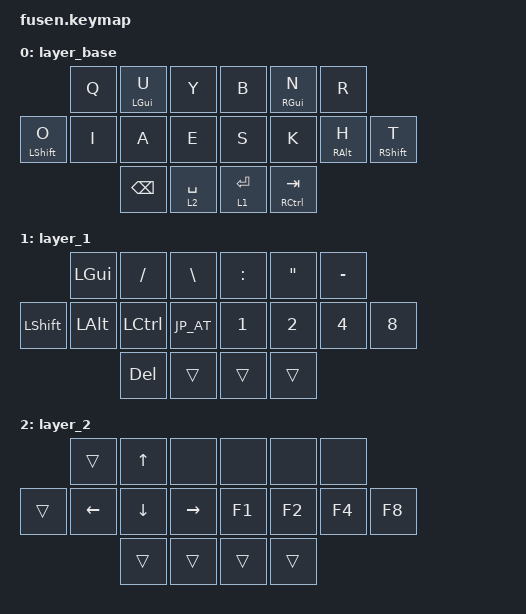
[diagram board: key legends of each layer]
#include <behaviors.dtsi>
#include <dt-bindings/zmk/keys.h>
#include <dt-bindings/zmk/mouse.h>
#include <dt-bindings/zmk/bt.h>
#include <dt-bindings/zmk/outputs.h>
#include <dt-bindings/zmk/pointing.h>

// US JISのキー名の調整
#define JP_DQUOTE       AT                // "
#define JP_AMPERSAND    CARET             // &
#define JP_QUOTE        AMPERSAND         // '
#define JP_EQUAL        UNDER             // =
#define JP_CARET        EQUAL             // ^
#define JP_YEN          0x89              // ¥
#define JP_PLUS         COLON             // +
#define JP_TILDE        PLUS              // ~
#define JP_PIPE         LS(0x89)          // |
#define JP_AT           LEFT_BRACKET      // @
#define JP_COLON        SINGLE_QUOTE      // :
#define JP_ASTERISK     DOUBLE_QUOTES     // *
#define JP_BACKQUOTE    LEFT_BRACE        // `
#define JP_UNDERSCORE   LS(0x87)          // _
#define JP_LBRACKET     RIGHT_BRACKET     // [
#define JP_RBRACKET     BACKSLASH         // ]
#define JP_LPAREN       ASTERISK          // (
#define JP_RPAREN       LEFT_PARENTHESIS  // )
#define JP_LBRACE       RIGHT_BRACE       // {
#define JP_RBRACE       PIPE              // }
#define JP_KANA         LANGUAGE_1        // かな
#define JP_EISU         LANGUAGE_2        // 英数
#define JP_HANZEN       GRAVE             // 半角/全角
// 特殊な入力法

&mt {
    flavor = "tap-preferred";
    tapping-term-ms = <225>;
    quick-tap-ms = <200>;
    require-prior-idle-ms = <150>;
};

&lt {
    flavor = "balanced";
    tapping-term-ms = <175>;
    quick-tap-ms = <200>;
};

&sk {
};

&sl {
};

&caps_word {
};

&key_repeat {
};

/ {
    combos {
        compatible = "zmk,combos";
        timeout-ms = <100>;
        require-prior-idle-ms = <150>;

        combo_lang2 {
            key-positions = <7 8 9>;
            bindings = <&kp LANG2>;
            layers = <0>;
        };

        combo_lang1 {
            key-positions = <10 11 12>;
            bindings = <&kp LANG1>;
            layers = <0>;
        };
        
        combo_comma {
            key-positions = <10 16>;
            bindings = <&kp COMMA>;
        };

        combo_period {
            key-positions = <11 16>;
            bindings = <&kp DOT>;
        };

        combo_esc {
            key-positions = <0 6>;
            bindings = <&kp ESC>;
        };

        combo_q {
            bindings = <&kp Q>;
            key-positions = <0 2>;
            layers = <0>;
        };

        combo_x {
            bindings = <&kp X>;
            key-positions = <1 2>;
            layers = <0>;
        };

        combo_l {
            bindings = <&kp L>;
            key-positions = <3 5>;
            layers = <0>;
        };

        combo_p {
            bindings = <&kp P>;
            key-positions = <3 4>;
            layers = <0>;
        };

        combo_m {
            bindings = <&kp M>;
            key-positions = <4 5>;
            layers = <0>;
        };

        combo_j {
            bindings = <&kp J>;
            key-positions = <5 13>;
            layers = <0>;
        };

        combo_c {
            bindings = <&kp C>;
            key-positions = <7 8>;
            layers = <0>;
        };

        combo_v {
            bindings = <&kp V>;
            key-positions = <8 9>;
            layers = <0>;
        };

        combo_w {
            bindings = <&kp W>;
            key-positions = <10 12>;
            layers = <0>;
        };

        combo_z {
            bindings = <&kp Z>;
            key-positions = <10 11>;
            layers = <0>;
        };

        combo_g {
            bindings = <&kp G>;
            key-positions = <11 12>;
            layers = <0>;
        };

        combo_d {
            bindings = <&kp D>;
            key-positions = <12 13>;
            layers = <0>;
        };

        minus {
            bindings = <&kp MINUS>;
            key-positions = <12  16>;
            layers = <0>;
        };

        combo_lbkt {
            bindings = <&kp JP_LBRACKET>;
            key-positions = <2 15>;
            layers = <0>;
        };

        combo_rbkt {
            bindings = <&kp JP_RBRACKET>;
            key-positions = <3 16>;
            layers = <0>;
        };

    
        combo_n3 {
            bindings = <&kp N3>;
            key-positions = <10 11>;
            layers = <1>;
        };

        combo_n5 {
            bindings = <&kp N5>;
            key-positions = <10 12>;
            layers = <1>;
        };

        combo_n6 {
            bindings = <&kp N6>;
            key-positions = <11 12>;
            layers = <1>;
        };

        combo_n7 {
            bindings = <&kp N7>;
            key-positions = <10 11 12>;
            layers = <1>;
        };

        combo_n9 {
            bindings = <&kp N9>;
            key-positions = <10 13>;
            layers = <1>;
        };

        combo_n0 {
            bindings = <&kp N0>;
            key-positions = <11 13>;
            layers = <1>;
        };

        combo_f3 {
            bindings = <&kp F3>;
            key-positions = <10 11>;
            layers = <2>;
        };

        combo_f5 {
            bindings = <&kp F5>;
            key-positions = <10 12>;
            layers = <2>;
        };

        combo_f6 {
            bindings = <&kp F6>;
            key-positions = <11 12>;
            layers = <2>;
        };

        combo_f7 {
            bindings = <&kp F7>;
            key-positions = <10 11 12>;
            layers = <2>;
        };

        combo_f9 {
            bindings = <&kp F9>;
            key-positions = <10 13>;
            layers = <2>;
        };

        combo_f10 {
            bindings = <&kp F10>;
            key-positions = <11 13>;
            layers = <2>;
        };

        combo_f11 {
            bindings = <&kp F11>;
            key-positions = <10 11 13>;
            layers = <2>;
        };

        combo_f12 {
            bindings = <&kp F12>;
            key-positions = <12 13>;
            layers = <2>;
        };
        combo_qmark {
            key-positions = <12 16>;
            bindings = <&kp QMARK>;
            layers = <0>;
        };

        combo_excl {
            key-positions = <12 16>;
            bindings = <&kp EXCL>;
            layers = <0>;
        };

        combo_caret {
            key-positions = <4 10 12>;
            bindings = <&kp JP_CARET>;
            layers = <0>;
        };
        combo_eqal {
            key-positions = <12 16>;
            bindings = <&kp JP_EQUAL>;
            layers = <1>;
        };

    };

    keymap {
        compatible = "zmk,keymap";

        layer_base{
            bindings = <
                   &kp Q       &mt LGUI U       &kp Y            &kp B            &mt RGUI N          &kp R
&mt LSHIFT O       &kp I       &kp A            &kp E            &kp S            &kp K               &mt RALT H       &mt RSHIFT T
                               &kp BSPC         &lt 2 SPACE      &lt 1 RET        &mt RCTRL TAB
            >;
        };
        layer_1{
            bindings = <
            &kp LGUI    &kp FSLH    &kp BSLH        &kp JP_PLUS        &kp JP_ASTERISK       &kp MINUS
&kp LSHIFT  &kp LALT    &kp LCTRL   &JP_AT           &kp N1          &kp N2         &kp N4      &kp N8
                        &kp DEL     &trans          &trans          &trans
            >;
        };
        layer_2 {
            bindings = <
        &trans    &kp UP    &none       &none   &none   &none
&trans  &kp LEFT  &kp DOWN  &kp RIGHT   &kp F1  &kp F2  &kp F4  &kp F8
                  &trans    &trans      &trans  &trans
            >;
        };
    };
};
